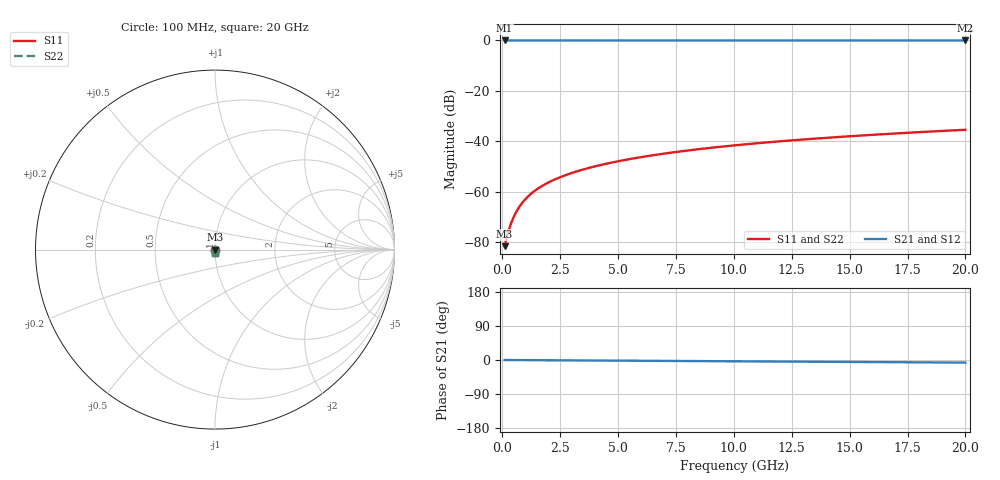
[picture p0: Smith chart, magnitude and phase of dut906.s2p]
! Touchstone file exported from HFSS 2026.1.0
!  File:  C:/ffzhzh/LocalFiles/Ansys_Project_Files/temp_train_TSV_906_1783186273_18472.aedt
!  Generated:  01:32:48 AM Jul  5, 2026
!  Design:  TSV
!  Project:  temp_train_TSV_906_1783186273_18472
! Variables:
!  h_bsmrdl = 2um
!  h_ox = 20um
!  h_rdl = 5um
!  h_sub = 65.64um
!  h_tmrdl = 5um
!  h_tsv = 65.64um
!  h_via = 3um
!  l_bsmrdl = 300um
!  l_sub = 428.52um
!  l_tmrdl = 200um
!  m_sub = 200um
!  pitch = 49.34um
!  r_tsv = 14.26um
!  s_tmrdl = 10um
!  w_bsmrdl = 18um
!  w_sub = 500um
!  w_tmrdl = 12um
!  x_tsv_center1 = 206um
!  x_tsv_center2 = 524um
!  x_tsv_center3 = 736um
!  x_tsv_center4 = 1054um
!  x_tsv_center5 = 1266um
!  x_tsv_center6 = 1584um
# GHz S MA R 50.000000
! Terminal data exported
! Port[1] = TSV1_1_T1
! Port[2] = TSV1_1_T2
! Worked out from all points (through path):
!   200 points, 100 MHz to 20 GHz, reference 50 ohm
!   highest |S21| = 0.00 dB at 100 MHz (marker M1); lowest = 0.0 dB at 20 GHz (marker M2)
!   lowest |S11| = -81.5 dB at 100 MHz (marker M3), VSWR 1.00, Z = 50 - j0.00498 ohm
!   |S11| at or under -10 dB: start of sweep to end of sweep
!   |S22| runs from -81.5 to -35.4 dB; largest |S21 - S12| = 2.3e-15
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0.1  8.406e-05 -36.3  0.9999 -0.0  0.9999 -0.0  8.406e-05 -36.3
! Gamma 0 0 0 0
! Port Impedance 50 0 50 0
0.2  0.0001296 -52.4  0.9999 -0.1  0.9999 -0.1  0.0001296 -52.4
0.3  0.0001871 -59.2  0.9999 -0.1  0.9999 -0.1  0.0001871 -59.2
0.4  0.0002525 -62.9  0.9999 -0.1  0.9999 -0.1  0.0002525 -62.9
0.5  0.0003237 -65.5  0.9999 -0.2  0.9999 -0.2  0.0003237 -65.5
0.6  0.000399 -67.4  0.9998 -0.2  0.9998 -0.2  0.000399 -67.4
0.8  0.0005571 -70.6  0.9998 -0.3  0.9998 -0.3  0.0005571 -70.6
1.1  0.0008022 -74.1  0.9998 -0.4  0.9998 -0.4  0.0008022 -74.1
1.3  0.000967 -75.9  0.9998 -0.5  0.9998 -0.5  0.000967 -75.9
1.5  0.001132 -77.3  0.9997 -0.5  0.9997 -0.5  0.001132 -77.3
1.8  0.001379 -79.0  0.9997 -0.6  0.9997 -0.6  0.001379 -79.0
2.1  0.001627 -80.3  0.9997 -0.7  0.9997 -0.7  0.001627 -80.3
2.7  0.002121 -82.1  0.9997 -0.9  0.9997 -0.9  0.002121 -82.1
3.5  0.002785 -83.7  0.9996 -1.2  0.9996 -1.2  0.002785 -83.7
4.2  0.00337 -84.6  0.9996 -1.4  0.9996 -1.4  0.00337 -84.6
5  0.004043 -85.5  0.9996 -1.7  0.9996 -1.7  0.004043 -85.5
6.8  0.005575 -87.0  0.9995 -2.3  0.9995 -2.3  0.005575 -87.0
8.3  0.006861 -88.1  0.9994 -2.8  0.9994 -2.8  0.006861 -88.1
10.1  0.008412 -89.2  0.9993 -3.5  0.9993 -3.5  0.008412 -89.2
13.4  0.01126 -90.9  0.9992 -4.6  0.9992 -4.6  0.01126 -90.9
16.7  0.01413 -92.5  0.9991 -5.7  0.9991 -5.7  0.01413 -92.4
20  0.01701 -93.8  0.999 -6.8  0.999 -6.8  0.01701 -93.8
